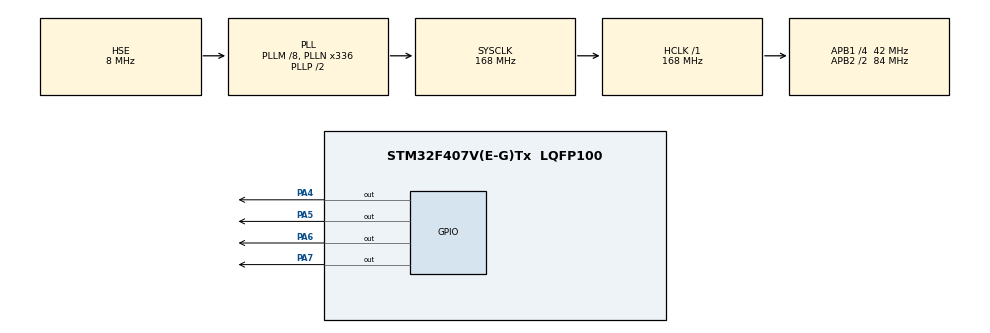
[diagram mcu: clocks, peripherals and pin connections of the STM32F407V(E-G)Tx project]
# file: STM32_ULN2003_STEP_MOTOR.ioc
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Mcu.Family=STM32F4
Mcu.Name=STM32F407V(E-G)Tx
Mcu.Package=LQFP100
NVIC.PriorityGroup=NVIC_PRIORITYGROUP_0
PA13.Mode=Serial_Wire
PA13.Signal=SYS_JTMS-SWDIO
PA14.Mode=Serial_Wire
PA14.Signal=SYS_JTCK-SWCLK
PA4.Signal=GPIO_Output
PA5.Signal=GPIO_Output
PA6.Signal=GPIO_Output
PA7.Signal=GPIO_Output
PH0-OSC_IN.Mode=HSE-External-Oscillator
PH0-OSC_IN.Signal=RCC_OSC_IN
PH1-OSC_OUT.Mode=HSE-External-Oscillator
PH1-OSC_OUT.Signal=RCC_OSC_OUT
ProjectManager.HeapSize=0x200
ProjectManager.StackSize=0x400
ProjectManager.TargetToolchain=STM32CubeIDE
RCC.48MHZClocksFreq_Value=48000000
RCC.AHBFreq_Value=168000000
RCC.APB1CLKDivider=RCC_HCLK_DIV4
RCC.APB1Freq_Value=42000000
RCC.APB1TimFreq_Value=84000000
RCC.APB2CLKDivider=RCC_HCLK_DIV2
RCC.APB2Freq_Value=84000000
RCC.APB2TimFreq_Value=168000000
RCC.CortexFreq_Value=168000000
RCC.HCLKFreq_Value=168000000
RCC.HSE_VALUE=8000000
RCC.HSI_VALUE=16000000
RCC.PLLM=8
RCC.PLLN=336
RCC.PLLQ=7
RCC.PLLSourceVirtual=RCC_PLLSOURCE_HSE
RCC.SYSCLKFreq_VALUE=168000000
RCC.SYSCLKSource=RCC_SYSCLKSOURCE_PLLCLK
RCC.VCOOutputFreq_Value=336000000
board=STM32F407G-DISC1

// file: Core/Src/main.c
/* USER CODE BEGIN Header */
/**
  ******************************************************************************
  * @file           : main.c
  * @brief          : Main program body
  ******************************************************************************
  * @attention
  *
  * Copyright (c) 2025 STMicroelectronics.
  * All rights reserved.
  *
  * This software is licensed under terms that can be found in the LICENSE file
  * in the root directory of this software component.
  * If no LICENSE file comes with this software, it is provided AS-IS.
  *
  ******************************************************************************
  */
/* USER CODE END Header */
#include "main.h"

void SystemClock_Config(void);
static void MX_GPIO_Init(void);

/* USER CODE BEGIN 0 */

#include "uln2003.h"

/* USER CODE END 0 */

int main(void)
{

  /* MCU Configuration--------------------------------------------------------*/

  /* Reset of all peripherals, Initializes the Flash interface and the Systick. */
  HAL_Init();

  /* Configure the system clock */
  SystemClock_Config();

  /* Initialize all configured peripherals */
  MX_GPIO_Init();
  /* USER CODE BEGIN 2 */

  // Define and configure the stepper motor pins and handler
  ULN2003_HandleTypeDef hstepmotor={
		  .IN1={GPIOA, GPIO_PIN_4},
		  .IN2={GPIOA, GPIO_PIN_5},
		  .IN3={GPIOA, GPIO_PIN_6},
		  .IN4={GPIOA, GPIO_PIN_7},
  };

  // Initialize the ULN2003 stepper motor driver
  uln2003_Init(&hstepmotor);

  // Rotate 2048 steps in clockwise direction (approximately one full revolution)
  uln2003_RunSteps(&hstepmotor, 2048, 1);
  HAL_Delay(1000);// Wait for 1 second

  // Rotate 2048 steps in counterclockwise direction (approximately one full revolution backward)
  uln2003_RunSteps(&hstepmotor, 2048, -1);
  HAL_Delay(1000);

  // Optional: stop the motor completely
  //uln2003_Stop(&hstepmotor);

  /* USER CODE END 2 */

  /* Infinite loop */
  while (1)
  {
    /* USER CODE BEGIN 3 */

	// Rotate 2048 steps in clockwise direction (approximately one full revolution)
	uln2003_RunSteps(&hstepmotor, 2048, 1);
	HAL_Delay(1000);// Wait for 1 second

	// Rotate 2048 steps in counterclockwise direction (approximately one full revolution backward)
	uln2003_RunSteps(&hstepmotor, 2048, -1);
	HAL_Delay(1000);

  }
  /* USER CODE END 3 */
}

void SystemClock_Config(void)
{
  RCC_OscInitTypeDef RCC_OscInitStruct = {0};
  RCC_ClkInitTypeDef RCC_ClkInitStruct = {0};

  /** Configure the main internal regulator output voltage
  */
  __HAL_RCC_PWR_CLK_ENABLE();
  __HAL_PWR_VOLTAGESCALING_CONFIG(PWR_REGULATOR_VOLTAGE_SCALE1);

  /** Initializes the RCC Oscillators according to the specified parameters
  * in the RCC_OscInitTypeDef structure.
  */
  RCC_OscInitStruct.OscillatorType = RCC_OSCILLATORTYPE_HSE;
  RCC_OscInitStruct.HSEState = RCC_HSE_ON;
  RCC_OscInitStruct.PLL.PLLState = RCC_PLL_ON;
  RCC_OscInitStruct.PLL.PLLSource = RCC_PLLSOURCE_HSE;
  RCC_OscInitStruct.PLL.PLLM = 8;
  RCC_OscInitStruct.PLL.PLLN = 336;
  RCC_OscInitStruct.PLL.PLLP = RCC_PLLP_DIV2;
  RCC_OscInitStruct.PLL.PLLQ = 7;
  if (HAL_RCC_OscConfig(&RCC_OscInitStruct) != HAL_OK)
  {
    Error_Handler();
  }

  /** Initializes the CPU, AHB and APB buses clocks
  */
  RCC_ClkInitStruct.ClockType = RCC_CLOCKTYPE_HCLK|RCC_CLOCKTYPE_SYSCLK
                              |RCC_CLOCKTYPE_PCLK1|RCC_CLOCKTYPE_PCLK2;
  RCC_ClkInitStruct.SYSCLKSource = RCC_SYSCLKSOURCE_PLLCLK;
  RCC_ClkInitStruct.AHBCLKDivider = RCC_SYSCLK_DIV1;
  RCC_ClkInitStruct.APB1CLKDivider = RCC_HCLK_DIV4;
  RCC_ClkInitStruct.APB2CLKDivider = RCC_HCLK_DIV2;

  if (HAL_RCC_ClockConfig(&RCC_ClkInitStruct, FLASH_LATENCY_5) != HAL_OK)
  {
    Error_Handler();
  }
}

static void MX_GPIO_Init(void)
{
  GPIO_InitTypeDef GPIO_InitStruct = {0};

  /* GPIO Ports Clock Enable */
  __HAL_RCC_GPIOH_CLK_ENABLE();
  __HAL_RCC_GPIOA_CLK_ENABLE();

  /*Configure GPIO pin Output Level */
  HAL_GPIO_WritePin(GPIOA, GPIO_PIN_4|GPIO_PIN_5|GPIO_PIN_6|GPIO_PIN_7, GPIO_PIN_RESET);

  /*Configure GPIO pins : PA4 PA5 PA6 PA7 */
  GPIO_InitStruct.Pin = GPIO_PIN_4|GPIO_PIN_5|GPIO_PIN_6|GPIO_PIN_7;
  GPIO_InitStruct.Mode = GPIO_MODE_OUTPUT_PP;
  GPIO_InitStruct.Pull = GPIO_NOPULL;
  GPIO_InitStruct.Speed = GPIO_SPEED_FREQ_LOW;
  HAL_GPIO_Init(GPIOA, &GPIO_InitStruct);

}

void Error_Handler(void)
{
  __disable_irq();
  while (1)
  {
  }
}
